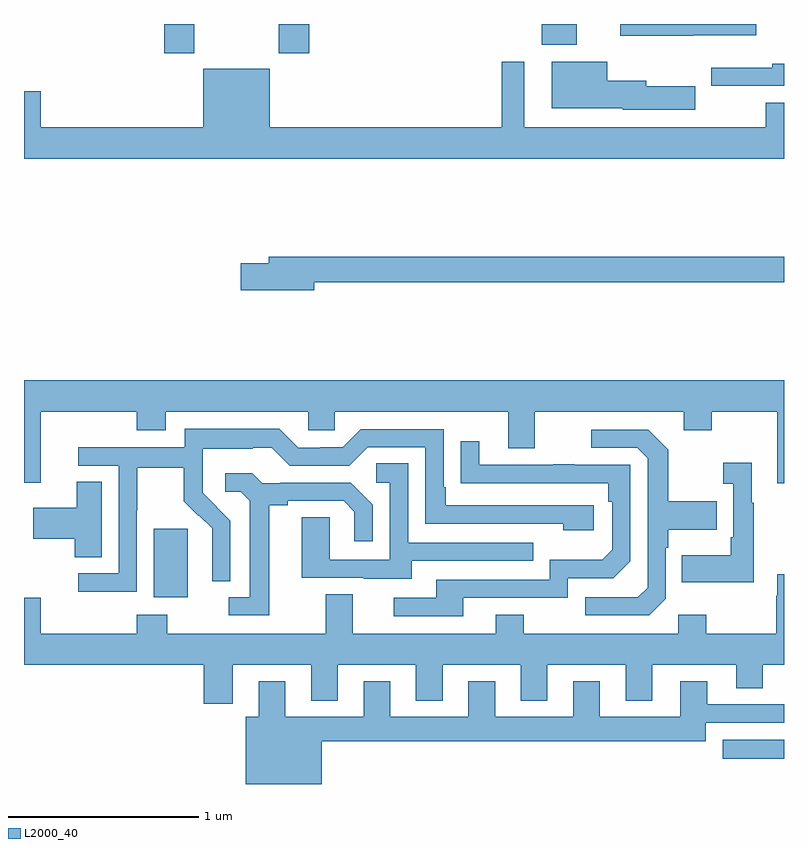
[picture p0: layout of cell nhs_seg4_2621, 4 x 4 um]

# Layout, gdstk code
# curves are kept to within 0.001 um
import gdstk
lib = gdstk.Library(unit=1e-6, precision=1e-09)
def R(c, l, rs):  # rectangles x0, y0, x1, y1
    for r in rs: c.add(gdstk.rectangle(r[:2], r[2:], *l))
def P(c, l, *ps):  # polygons
    for p in ps: c.add(gdstk.Polygon(p, *l))
L2000_40 = (2000, 40)

nhs_seg4_2621 = lib.new_cell('nhs_seg4_2621')
R(nhs_seg4_2621, L2000_40, [(252.678,755.033,253,755.134), (249.683,755.882,249.862,756.243), (249.737,758.745,249.897,758.9), (250.342,758.745,250.502,758.9), (251.724,758.792,251.91,758.9)])
P(nhs_seg4_2621, L2000_40, [(252.522,758.84),(252.853,758.84),(252.853,758.9),(252.138,758.9),(252.138,758.837),(252.522,758.837)],
  [(253,758.485),(252.905,758.485),(252.905,758.356),(251.632,758.356),(251.632,758.701),(251.515,758.701),(251.515,758.356),(250.294,758.356),(250.294,758.665),(249.944,758.665),(249.944,758.356),(249.088,758.356),(249.088,758.545),(249,758.545),(249,758.192),(253,758.192)],
  [(252.532,758.572),(252.274,758.572),(252.274,758.602),(252.07,758.602),(252.07,758.701),(251.777,758.701),(251.777,758.456),(252.15,758.456),(252.15,758.45),(252.532,758.45)],
  [(253,758.69),(252.938,758.69),(252.938,758.671),(252.617,758.671),(252.617,758.574),(253,758.574)],
  [(250.528,757.54),(253,757.54),(253,757.676),(250.289,757.676),(250.289,757.64),(250.14,757.64),(250.14,757.498),(250.528,757.498)],
  [(253,757.024),(249,757.024),(249,756.486),(249.088,756.486),(249.088,756.86),(249.593,756.86),(249.593,756.761),(249.745,756.761),(249.745,756.86),(250.497,756.86),(250.497,756.762),(250.635,756.762),(250.635,756.86),(251.549,756.86),(251.549,756.666),(251.689,756.666),(251.689,756.86),(252.473,756.86),(252.473,756.761),(252.621,756.761),(252.621,756.86),(252.965,756.86),(252.965,756.483),(253,756.483)],
  [(249.594,756.34),(249.597,756.34),(249.597,756.564),(249.841,756.564),(249.841,756.389),(249.918,756.312),(249.921,756.315),(249.992,756.245),(249.992,756.122),(249.99,756.122),(249.99,755.968),(250.086,755.968),(250.086,756.286),(249.94,756.434),(249.94,756.531),(249.942,756.531),(249.942,756.665),(250.205,756.665),(250.205,756.669),(250.305,756.669),(250.398,756.576),(250.713,756.576),(250.809,756.672),(251.112,756.672),(251.112,756.27),(251.837,756.27),(251.837,756.236),(251.998,756.236),(251.998,756.366),(251.221,756.366),(251.221,756.463),(251.208,756.463),(251.208,756.768),(250.773,756.768),(250.677,756.672),(250.559,756.672),(250.559,756.669),(250.443,756.669),(250.343,756.769),(249.846,756.769),(249.846,756.672),(249.285,756.672),(249.285,756.576),(249.498,756.576),(249.498,756.009),(249.285,756.009),(249.285,755.911),(249.594,755.911)],
  [(252.378,755.874),(252.378,756.143),(252.391,756.143),(252.391,756.239),(252.647,756.239),(252.647,756.387),(252.391,756.387),(252.391,756.659),(252.285,756.765),(251.985,756.765),(251.985,756.669),(252.228,756.669),(252.282,756.615),(252.282,755.934),(252.231,755.883),(251.955,755.883),(251.955,755.787),(252.291,755.787)],
  [(251.311,755.88),(251.862,755.88),(251.862,755.982),(252.102,755.982),(252.192,756.072),(252.192,756.579),(251.897,756.579),(251.897,756.584),(251.785,756.584),(251.785,756.579),(251.395,756.579),(251.395,756.703),(251.299,756.703),(251.299,756.484),(252.076,756.483),(252.076,756.386),(252.096,756.386),(252.096,756.132),(252.043,756.079),(251.766,756.079),(251.766,755.976),(251.171,755.976),(251.171,755.88),(250.947,755.88),(250.947,755.784),(251.311,755.784)],
  [(252.841,756.379),(252.829,756.379),(252.829,756.592),(252.681,756.592),(252.681,756.479),(252.732,756.479),(252.732,756.199),(252.72,756.199),(252.72,756.103),(252.463,756.103),(252.463,755.963),(252.841,755.963)],
  [(251.041,756.075),(251.681,756.075),(251.681,756.171),(251.022,756.171),(251.022,756.587),(250.854,756.587),(250.854,756.486),(250.926,756.486),(250.926,756.081),(250.608,756.081),(250.608,756.305),(250.463,756.305),(250.463,755.985),(250.787,755.985),(250.787,755.981),(251.041,755.981)],
  [(250.291,756.368),(250.387,756.368),(250.387,756.39),(250.682,756.39),(250.739,756.333),(250.739,756.177),(250.836,756.177),(250.836,756.37),(250.72,756.486),(250.348,756.486),(250.348,756.483),(250.254,756.483),(250.202,756.535),(250.059,756.535),(250.059,756.438),(250.14,756.438),(250.187,756.391),(250.187,755.883),(250.077,755.883),(250.077,755.787),(250.291,755.787)],
  [(249.409,756.491),(249.278,756.491),(249.278,756.355),(249.048,756.355),(249.048,756.19),(249.266,756.19),(249.266,756.094),(249.409,756.094)],
  [(250.099,755.528),(250.511,755.528),(250.511,755.339),(250.651,755.339),(250.651,755.528),(251.063,755.528),(251.063,755.339),(251.203,755.339),(251.203,755.528),(251.615,755.528),(251.615,755.339),(251.755,755.339),(251.755,755.528),(252.167,755.528),(252.167,755.339),(252.307,755.339),(252.307,755.528),(252.749,755.528),(252.749,755.404),(252.889,755.404),(252.889,755.528),(253,755.528),(253,756.004),(252.965,756.004),(252.965,755.891),(252.958,755.891),(252.958,755.692),(252.591,755.692),(252.591,755.791),(252.444,755.791),(252.444,755.692),(251.631,755.692),(251.631,755.791),(251.483,755.791),(251.483,755.692),(250.729,755.692),(250.729,755.9),(250.589,755.9),(250.589,755.692),(249.753,755.692),(249.753,755.791),(249.593,755.791),(249.593,755.692),(249.088,755.692),(249.088,755.881),(249,755.881),(249,755.528),(249.947,755.528),(249.947,755.322),(250.099,755.322)],
  [(250.567,755.126),(252.589,755.126),(252.589,755.223),(253,755.223),(253,755.319),(252.595,755.319),(252.595,755.44),(252.455,755.44),(252.455,755.254),(252.031,755.254),(252.031,755.44),(251.891,755.44),(251.891,755.254),(251.479,755.254),(251.479,755.44),(251.339,755.44),(251.339,755.254),(250.927,755.254),(250.927,755.44),(250.787,755.44),(250.787,755.254),(250.375,755.254),(250.375,755.44),(250.235,755.44),(250.235,755.254),(250.166,755.254),(250.166,754.9),(250.567,754.9)])

lib.write_gds('nhs_seg4_2621.gds')
